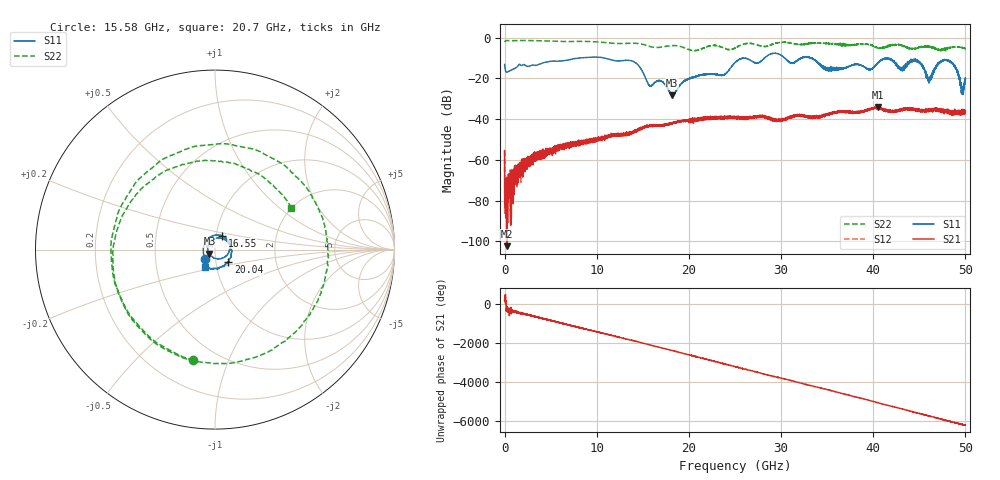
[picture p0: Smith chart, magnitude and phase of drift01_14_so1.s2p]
!Created with skrf (http://scikit-rf.org).
# Hz S RI R 50.0
!freq ReS11 ImS11 ReS21 ImS21 ReS12 ImS12 ReS22 ImS22
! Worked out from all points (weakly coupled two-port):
!   10001 points, 300 kHz to 50 GHz, reference 50 ohm
!   highest |S21| = -34.00 dB at 40.47 GHz (marker M1); lowest = -102.3 dB at 230.3 MHz (marker M2)
!   lowest |S11| = -28.3 dB at 18.15 GHz (marker M3), VSWR 1.08, Z = 46.9 - j2.11 ohm
!   |S11| at or under -10 dB: start of sweep to 8.048 GHz; 10.87 GHz to 25.83 GHz (14.96 GHz wide, 81.5 % of centre); 33.28 GHz to end of sweep (the widest 3 of 9)
!   |S22| runs from -6.5 to -1.4 dB; largest |S21 - S12| = 0.0042
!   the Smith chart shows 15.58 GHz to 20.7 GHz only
!   S11 on the Smith chart (normalised r, x): 15.58 GHz: 0.89, -0.09; 16.55 GHz: 1.07, +0.17; 20.04 GHz: 1.15, -0.16; 20.7 GHz: 0.88, -0.18
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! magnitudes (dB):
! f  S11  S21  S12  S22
! 300 kHz  -13.1  -55.4  -55.3  -2.2
! 230.3 MHz  -16.9  -102.3  -77.8  -1.4
! 3.25 GHz  -13.5  -58.2  -59.1  -1.5
! 8.335 GHz  -9.9  -51.6  -51.2  -1.8
! 13.88 GHz  -11.5  -46.0  -46.0  -2.7
! 15.58 GHz  -22.6  -43.6  -43.1  -4.0
! 16.55 GHz  -21.2  -43.4  -42.8  -4.8
! 16.67 GHz  -21.1  -43.4  -43.2  -4.8
! 18.15 GHz  -28.3  -42.3  -41.9  -3.9
! 20.04 GHz  -19.9  -40.8  -40.9  -5.9
! 20.7 GHz  -19.0  -39.9  -40.0  -6.3
! 25 GHz  -12.2  -39.3  -39.3  -5.1
! 33.34 GHz  -10.1  -38.9  -38.5  -2.7
! 35.22 GHz  -15.5  -37.5  -37.3  -3.0
! 40.47 GHz  -12.6  -34.0  -34.6  -4.9
! 41.67 GHz  -10.4  -35.7  -36.1  -4.2
! 43.07 GHz  -15.3  -35.5  -35.3  -3.6
! 44.8 GHz  -11.1  -35.6  -35.5  -4.9
! 46.1 GHz  -21.9  -35.5  -35.5  -4.3
! 48.01 GHz  -10.9  -36.1  -36.5  -5.8
! 49.63 GHz  -26.8  -36.4  -36.7  -4.9
! 50 GHz  -20.6  -35.9  -36.6  -5.4
